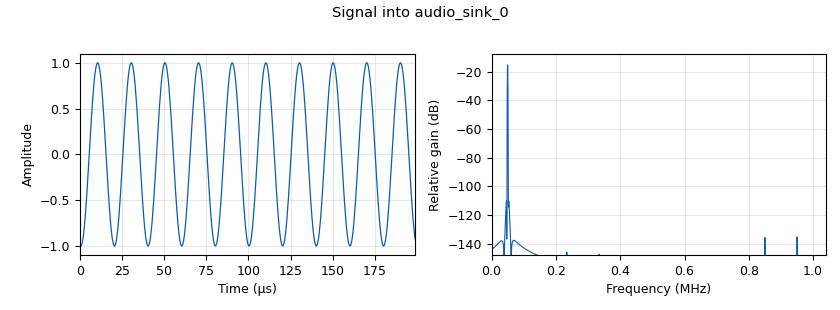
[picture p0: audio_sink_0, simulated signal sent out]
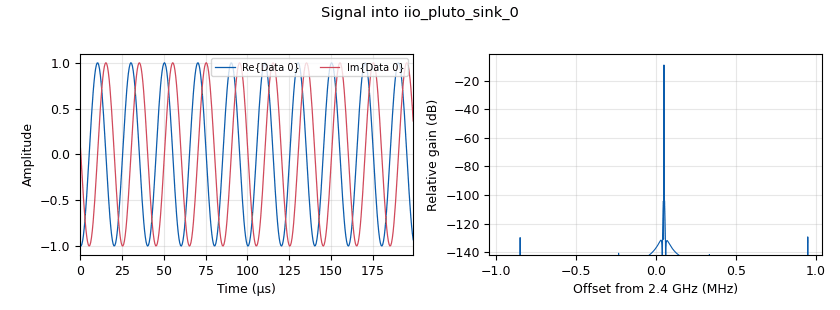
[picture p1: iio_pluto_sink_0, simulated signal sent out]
options:
  parameters:
    generate_options: qt_gui
    id: Pluto_Tx_to_Rx
    output_language: python
    title: Pluto_Tx_to_Rx
  states: {}

blocks:
- name: Rx_Gain
  id: variable_qtgui_range
  parameters:
    start: '0'
    step: '1'
    stop: '70'
    value: '64'
  states: {}
- name: samp_rate
  id: variable
  parameters:
    value: '2084000'
  states: {}
- name: tone_freq
  id: variable_qtgui_range
  parameters:
    start: '-100e3'
    step: '1'
    stop: 100e3
    value: 50e3
  states: {}
- name: analog_sig_source_x_0
  id: analog_sig_source_x
  parameters:
    amp: '1'
    freq: tone_freq
    offset: '0'
    phase: '0'
    samp_rate: samp_rate
    type: complex
    waveform: analog.GR_COS_WAVE
  states: {}
- name: audio_sink_0
  id: audio_sink
  parameters:
    ok_to_block: 'False'
    samp_rate: samp_rate
  states: {}
- name: blocks_complex_to_float_0
  id: blocks_complex_to_float
  parameters: {}
  states: {}
- name: iio_pluto_sink_0
  id: iio_pluto_sink
  parameters:
    attenuation1: '10.0'
    bandwidth: '20000000'
    buffer_size: '32768'
    cyclic: 'False'
    filter_source: '''Auto'''
    frequency: '2400000000'
    samplerate: samp_rate
    type: fc32
    uri: ip:pluto.local
  states: {}
- name: iio_pluto_source_0
  id: iio_pluto_source
  parameters:
    bandwidth: '20000000'
    bbdc: 'True'
    buffer_size: '32768'
    filter_source: '''Auto'''
    frequency: '2400000000'
    gain1: '''manual'''
    manual_gain1: Rx_Gain
    quadrature: 'True'
    rfdc: 'True'
    samplerate: samp_rate
    type: fc32
    uri: ip:pluto.local
  states: {}
- name: qtgui_freq_sink_x_0
  id: qtgui_freq_sink_x
  parameters:
    bw: samp_rate
    fc: '0'
    fftsize: '1024'
    label1: Signal Source
    label2: PlutoSDR
    nconnections: '2'
    type: complex
  states: {}
- name: qtgui_time_sink_x_0
  id: qtgui_time_sink_x
  parameters:
    ctrlpanel: 'True'
    label1: Signal Source
    label2: PlutoSDR
    nconnections: '2'
    size: '1024'
    srate: samp_rate
    type: complex
  states: {}

connections:
- [analog_sig_source_x_0, '0', blocks_complex_to_float_0, '0']
- [analog_sig_source_x_0, '0', iio_pluto_sink_0, '0']
- [analog_sig_source_x_0, '0', qtgui_freq_sink_x_0, '0']
- [analog_sig_source_x_0, '0', qtgui_time_sink_x_0, '0']
- [blocks_complex_to_float_0, '0', audio_sink_0, '0']
- [iio_pluto_source_0, '0', qtgui_freq_sink_x_0, '1']
- [iio_pluto_source_0, '0', qtgui_time_sink_x_0, '1']

metadata:
  file_format: 1
  grc_version: 3.10.5.1
